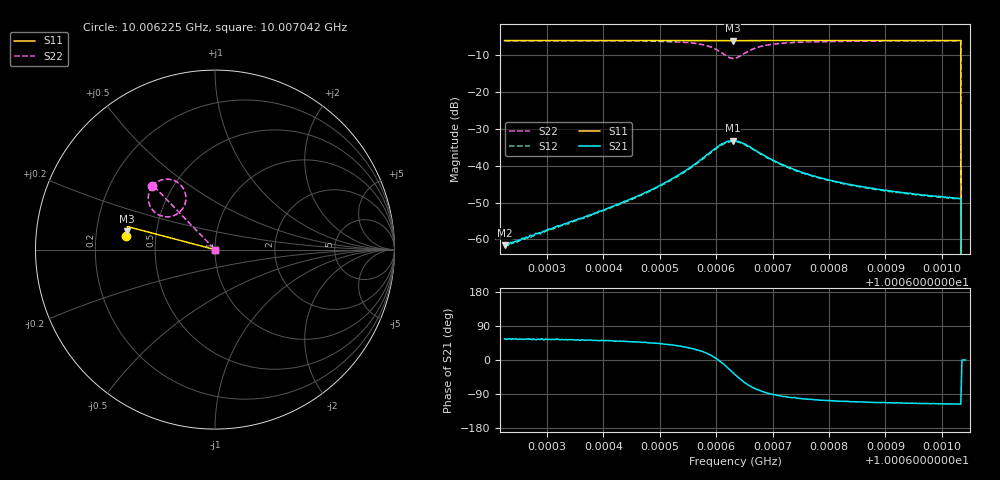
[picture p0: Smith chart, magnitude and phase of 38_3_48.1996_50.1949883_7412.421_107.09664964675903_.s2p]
#  HZ  S  RI  R  50.00
! Rohde & Schwarz Vector Network Analyzer
! Rohde-Schwarz,ZNB20-2Port,1311601062101988,3.16
! Created: UTC 3/20/2024, 11:37:45 AM
! freq[Hz]  re:S11  im:S11  re:S21  im:S21  re:S12  im:S12  re:S22  im:S22
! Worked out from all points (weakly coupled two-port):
!   401 points, 10.006225 GHz to 10.007042 GHz, reference 50 ohm
!   highest |S21| = -33.14 dB at 10.006629 GHz (marker M1); lowest = -61.6 dB at 10.006225 GHz (marker M2)
!   lowest |S11| = -6.0 dB at 10.006629 GHz (marker M3), VSWR 3.00, Z = 16.8 + j4.57 ohm
!   |S11| at or under -10 dB: 10.007034 GHz to end of sweep
!   |S22| runs from - to -6.0 dB; largest |S21 - S12| = 0.0015
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1.00062247e10  -0.4961 0.0769  0.000466 0.000686  0.000418 0.000694  -0.353 0.3536
1.00063615e10  -0.4949 0.0857  0.00115 0.00154  0.00109 0.00159  -0.3383 0.3667
1.00064555e10  -0.4939 0.092  0.00252 0.00275  0.00232 0.0028  -0.3188 0.3795
1.00064984e10  -0.4931 0.0948  0.00387 0.00368  0.00362 0.00373  -0.3019 0.3869
1.00065413e10  -0.4925 0.0977  0.00672 0.00473  0.00633 0.0049  -0.2707 0.3925
1.00065822e10  -0.4913 0.1006  0.0131 0.00435  0.0126 0.00479  -0.2098 0.3752
1.00065965e10  -0.491 0.1012  0.0168 0.00203  0.0161 0.00283  -0.1808 0.3473
1.00066108e10  -0.4903 0.1017  0.0198 -0.00285  0.0192 -0.00177  -0.1625 0.2957
1.0006621e10  -0.49 0.1021  0.0201 -0.00796  0.0199 -0.0065  -0.1698 0.248
1.00066292e10  -0.49 0.102  0.0185 -0.012  0.0187 -0.0105  -0.1925 0.2136
1.00066333e10  -0.4901 0.102  0.0172 -0.0137  0.0175 -0.0123  -0.2085 0.2003
1.00066496e10  -0.4904 0.1027  0.0103 -0.0171  0.0111 -0.016  -0.2796 0.1832
1.00066639e10  -0.4909 0.1034  0.0053 -0.0164  0.00616 -0.0158  -0.3251 0.2001
1.00066803e10  -0.491 0.1047  0.00201 -0.0143  0.00262 -0.014  -0.3531 0.2278
1.00067068e10  -0.4909 0.1066  -0.000471 -0.0113  3.38e-05 -0.0111  -0.3692 0.2643
1.00067272e10  -0.491 0.108  -0.00144 -0.00956  -0.000757 -0.00944  -0.3716 0.2836
1.00067701e10  -0.4905 0.1109  -0.00181 -0.00714  -0.00146 -0.00713  -0.3694 0.3094
1.00068253e10  -0.4897 0.1146  -0.00187 -0.00547  -0.0016 -0.00547  -0.3636 0.3279
1.0006907e10  -0.4887 0.1199  -0.00177 -0.00423  -0.00153 -0.0042  -0.3558 0.3437
1.00070296e10  -0.4872 0.1276  -0.00158 -0.0032  -0.00144 -0.00325  -0.3462 0.3579
1.00070398e10  0 0  0 0  0 0  0 0
1.00070419e10  0 0  0 0  0 0  0 0
